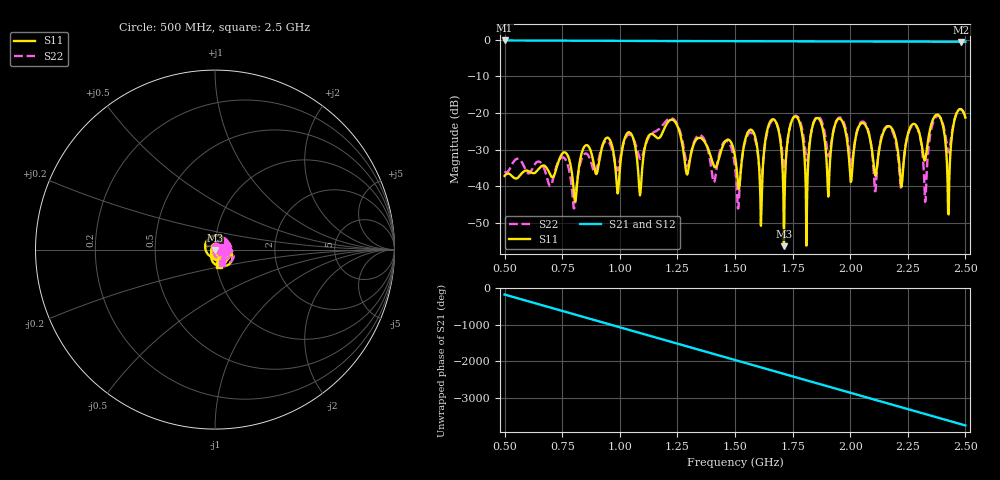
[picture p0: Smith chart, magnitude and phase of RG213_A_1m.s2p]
!Agilent N9923A: A.05.17
!Date: Sunday, 01 January 2006 12:39:15
!Model: N9923A
!Serial: MY50371189
!CHECKSUM:2087716751
!Correction: S11(ON Q)S21(ON Q)S12(ON Q)S22(ON Q)
!S2P File: Measurements:S11,S21,S12,S22:
# Hz S DB R 50
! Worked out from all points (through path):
!   801 points, 500 MHz to 2.5 GHz, reference 50 ohm
!   highest |S21| = -0.16 dB at 500 MHz (marker M1); lowest = -0.5 dB at 2.482 GHz (marker M2)
!   group delay of S21, straight-line fit = 4.98 ns
!   lowest |S11| = -56.4 dB at 1.712 GHz (marker M3), VSWR 1.00, Z = 50.1 - j0.136 ohm
!   |S11| at or under -10 dB: start of sweep to end of sweep
!   |S22| runs from -46.1 to -18.9 dB; largest |S21 - S12| = 0.003
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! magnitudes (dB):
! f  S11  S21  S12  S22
! 500 MHz  -37.2  -0.2  -0.2  -35.9
! 835 MHz  -30.8  -0.2  -0.2  -32.4
! 1.167 GHz  -26.9  -0.3  -0.3  -24.5
! 1.5 GHz  -31.8  -0.3  -0.3  -34.6
! 1.575 GHz  -24.8  -0.4  -0.4  -25.5
! 1.613 GHz  -50.8  -0.4  -0.4  -40.5
! 1.667 GHz  -21.7  -0.4  -0.4  -22.0
! 1.712 GHz  -56.4  -0.4  -0.4  -35.4
! 1.75 GHz  -21.6  -0.4  -0.4  -21.6
! 1.81 GHz  -56.2  -0.4  -0.4  -32.6
! 1.835 GHz  -24.0  -0.4  -0.4  -23.9
! 1.905 GHz  -42.8  -0.4  -0.4  -31.6
! 1.945 GHz  -21.8  -0.4  -0.4  -21.6
! 2.002 GHz  -38.8  -0.4  -0.4  -33.9
! 2.06 GHz  -22.9  -0.5  -0.4  -22.5
! 2.11 GHz  -37.1  -0.4  -0.4  -41.3
! 2.167 GHz  -23.6  -0.5  -0.5  -23.7
! 2.325 GHz  -32.9  -0.5  -0.5  -44.3
! 2.382 GHz  -20.5  -0.5  -0.5  -20.8
! 2.425 GHz  -47.5  -0.5  -0.5  -30.6
! 2.482 GHz  -19.0  -0.5  -0.5  -19.0
! 2.5 GHz  -21.2  -0.5  -0.5  -21.2
